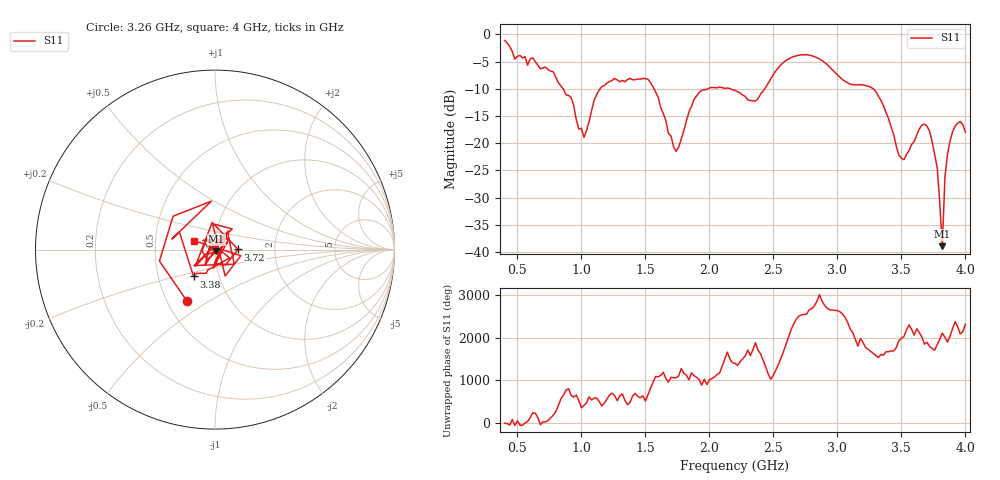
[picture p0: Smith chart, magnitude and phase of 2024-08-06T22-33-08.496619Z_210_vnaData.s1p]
!Created with skrf (http://scikit-rf.org).
# Hz S RI R 50.0
!freq ReS11 ImS11
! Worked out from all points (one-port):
!   181 points, 400 MHz to 4 GHz, reference 50 ohm
!   lowest |S11| = -38.9 dB at 3.82 GHz (marker M1), VSWR 1.02, Z = 50.7 - j0.902 ohm
!   |S11| at or under -10 dB: 856.7 MHz to 1.147 GHz (290.2 MHz wide, 29 % of centre); 1.567 GHz to 1.99 GHz (422.5 MHz wide, 23.8 % of centre); 3.28 GHz to end of sweep (the widest 3 of 4)
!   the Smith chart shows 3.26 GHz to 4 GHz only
!   S11 on the Smith chart (normalised r, x): 3.26 GHz: 0.63, -0.40; 3.38 GHz: 0.76, -0.23; 3.72 GHz: 1.30, +0.00; 4 GHz: 0.79, +0.08
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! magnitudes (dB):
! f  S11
! 400 MHz  -1.1
! 480 MHz  -4.6
! 620 MHz  -4.3
! 860 MHz  -10.1
! 1.02 GHz  -18.9
! 1.14 GHz  -10.2
! 1.3 GHz  -8.7
! 1.52 GHz  -8.3
! 1.72 GHz  -20.7
! 1.76 GHz  -20.7
! 1.92 GHz  -10.7
! 2.2 GHz  -10.3
! 2.36 GHz  -12.3
! 2.66 GHz  -4.1
! 2.86 GHz  -4.5
! 3.1 GHz  -9.2
! 3.26 GHz  -9.7
! 3.38 GHz  -14.4
! 3.48 GHz  -22.2
! 3.56 GHz  -21.4
! 3.66 GHz  -16.7
! 3.72 GHz  -17.8
! 3.78 GHz  -24.5
! 3.82 GHz  -38.9
! 3.84 GHz  -26.2
! 3.88 GHz  -19.6
! 3.94 GHz  -16.3
! 4 GHz  -18.0
